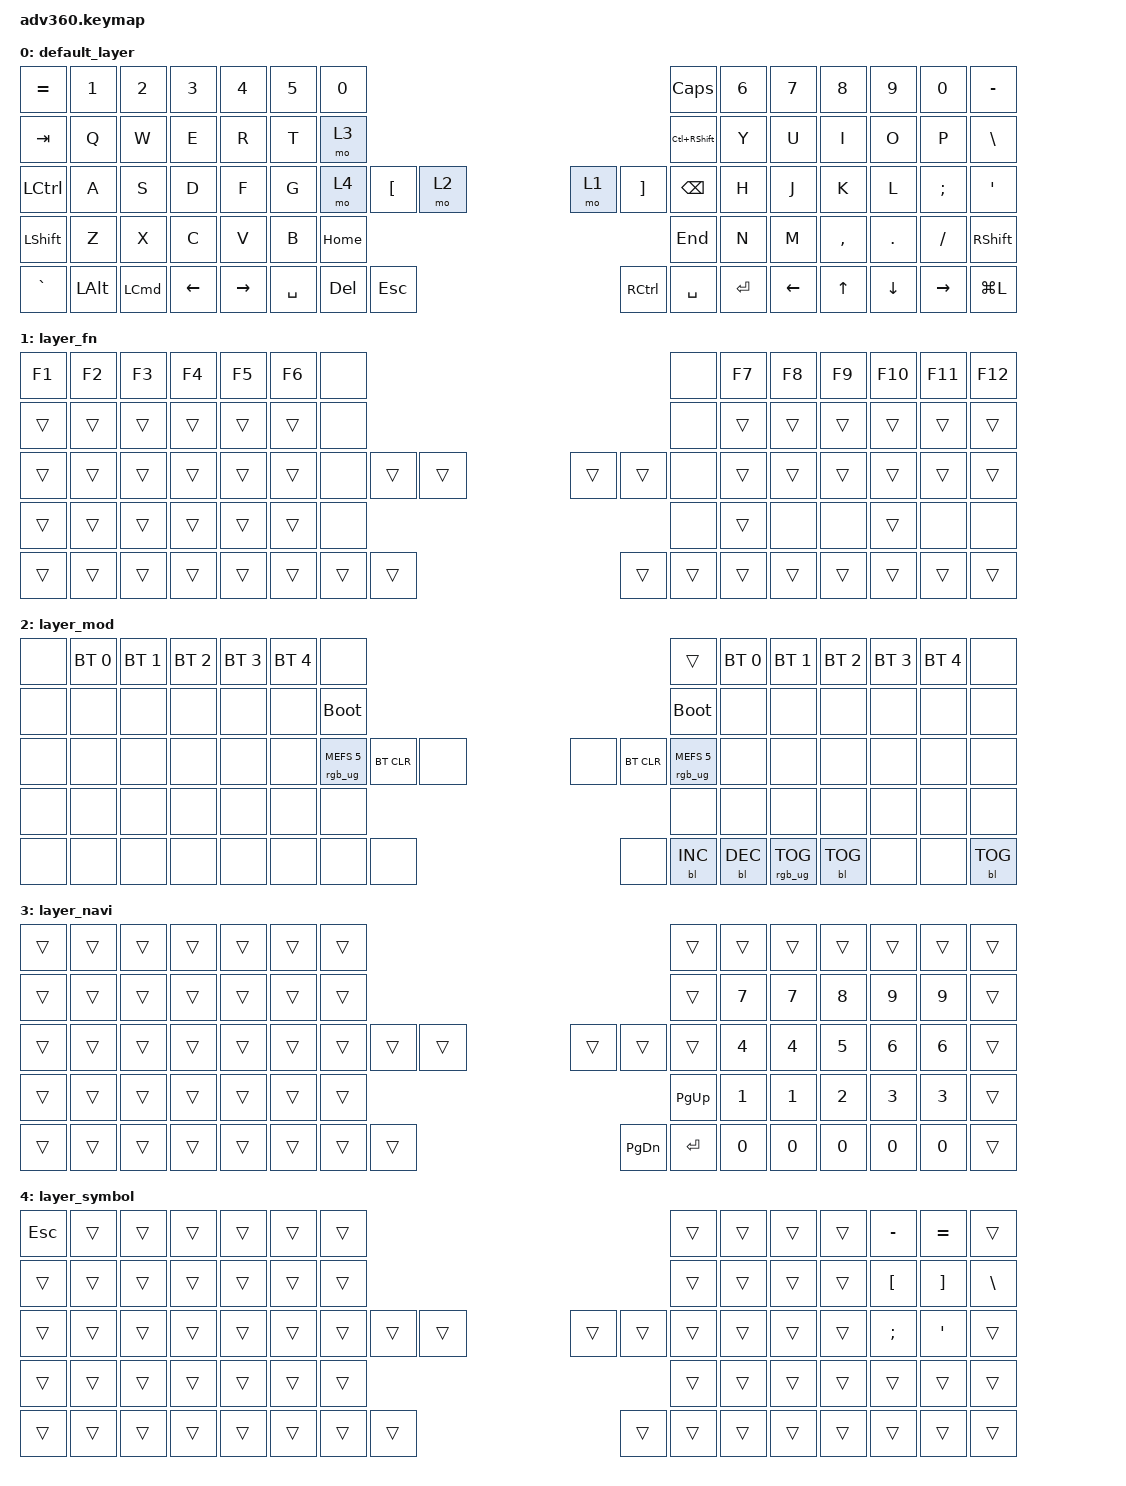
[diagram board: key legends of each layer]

/*
 * Copyright (c) 2020 The ZMK Contributors
 *
 * SPDX-License-Identifier: MIT
 */


/* THIS FILE WAS GENERATED!
 *
 * This file was generated automatically. You may or may not want to
 * edit it directly.
 */

#include <behaviors.dtsi>
#include <dt-bindings/zmk/keys.h>
#include <dt-bindings/zmk/bt.h>
#include <dt-bindings/zmk/rgb.h>
#include <dt-bindings/zmk/backlight.h>

/ {
  behaviors {
    #include "macros.dtsi"
    #include "version.dtsi"

    hm: homerow_mods {
        compatible = "zmk,behavior-hold-tap";
        label = "HOMEROW_MODS";
        #binding-cells = <2>;
        tapping-term-ms = <200>;
        quick_tap_ms = <175>;
        flavor = "tap-preferred";
        bindings = <&kp>, <&kp>;
    };
  };

    keymap {
        compatible = "zmk,keymap";


        default_layer {
            bindings = <
 &kp EQUAL  &kp NUMBER_1            &kp N2    &kp N3     &kp N4  &kp N5               &kp N0                                                                                             &kp CAPSLOCK  &kp N6    &kp N7     &kp N8    &kp N9     &kp N0  &kp MINUS
   &kp TAB         &kp Q             &kp W     &kp E      &kp R   &kp T                &mo 3                                                                                      &kp LC(RIGHT_SHIFT)   &kp Y     &kp U      &kp I     &kp O      &kp P   &kp BSLH
 &kp LCTRL         &kp A             &kp S     &kp D      &kp F   &kp G                &mo 4  &kp LEFT_BRACKET       &mo 2                              &mo 1  &kp RIGHT_BRACKET        &kp BACKSPACE   &kp H     &kp J      &kp K     &kp L   &kp SEMI    &kp SQT
 &kp LSHFT         &kp Z             &kp X     &kp C      &kp V   &kp B                                           &kp HOME                            &kp END                                           &kp N     &kp M  &kp COMMA   &kp DOT   &kp FSLH  &kp RSHFT
 &kp GRAVE  &kp LEFT_ALT  &kp LEFT_COMMAND  &kp LEFT  &kp RIGHT                    &kp SPACE        &kp DELETE  &kp ESCAPE                  &kp RIGHT_CONTROL          &kp SPACE            &kp ENTER          &kp LEFT     &kp UP  &kp DOWN  &kp RIGHT  &kp LG(L)
            >;
        };

        layer_fn {
            bindings = <
 &kp F1  &kp F2  &kp F3  &kp F4  &kp F5  &kp F6             &none                                                   &none  &kp F7  &kp F8  &kp F9  &kp F10  &kp F11  &kp F12
 &trans  &trans  &trans  &trans  &trans  &trans             &none                                                   &none  &trans  &trans  &trans   &trans   &trans   &trans
 &trans  &trans  &trans  &trans  &trans  &trans             &none  &trans  &trans                  &trans  &trans   &none  &trans  &trans  &trans   &trans   &trans   &trans
 &trans  &trans  &trans  &trans  &trans  &trans                             &none                   &none                  &trans   &none   &none   &trans    &none    &none
 &trans  &trans  &trans  &trans  &trans                    &trans  &trans  &trans                  &trans  &trans  &trans          &trans  &trans   &trans   &trans   &trans
            >;
        };

        layer_mod {
            bindings = <
  &none  &bt BT_SEL 0  &bt BT_SEL 1  &bt BT_SEL 2  &bt BT_SEL 3  &bt BT_SEL 4                             &none                                                                          &trans  &bt BT_SEL 0     &bt BT_SEL 1  &bt BT_SEL 2  &bt BT_SEL 3  &bt BT_SEL 4       &none
  &none         &none         &none         &none         &none         &none                       &bootloader                                                                     &bootloader         &none            &none         &none         &none         &none       &none
  &none         &none         &none         &none         &none         &none            &rgb_ug RGB_MEFS_CMD 5  &bt BT_CLR   &none                   &none  &bt BT_CLR  &rgb_ug RGB_MEFS_CMD 5         &none            &none         &none         &none         &none       &none
  &none         &none         &none         &none         &none         &none                                                 &none                   &none                                             &none            &none         &none         &none         &none       &none
  &none         &none         &none         &none         &none                                           &none       &none   &none                   &none  &bl BL_INC              &bl BL_DEC                &rgb_ug RGB_TOG    &bl BL_TOG         &none         &none  &bl BL_TOG
            >;
        };

        layer_navi {
            bindings = <
 &trans  &trans  &trans  &trans  &trans  &trans            &trans                                                                  &trans        &trans        &trans        &trans        &trans        &trans  &trans
 &trans  &trans  &trans  &trans  &trans  &trans            &trans                                                                  &trans  &kp NUMBER_7  &kp NUMBER_7  &kp NUMBER_8  &kp NUMBER_9  &kp NUMBER_9  &trans
 &trans  &trans  &trans  &trans  &trans  &trans            &trans  &trans  &trans                         &trans     &trans        &trans  &kp NUMBER_4  &kp NUMBER_4  &kp NUMBER_5  &kp NUMBER_6  &kp NUMBER_6  &trans
 &trans  &trans  &trans  &trans  &trans  &trans                            &trans                    &kp PAGE_UP                           &kp NUMBER_1  &kp NUMBER_1  &kp NUMBER_2  &kp NUMBER_3  &kp NUMBER_3  &trans
 &trans  &trans  &trans  &trans  &trans                    &trans  &trans  &trans                  &kp PAGE_DOWN  &kp ENTER  &kp NUMBER_0                &kp NUMBER_0  &kp NUMBER_0  &kp NUMBER_0  &kp NUMBER_0  &trans
            >;
        };

        layer_symbol {
            bindings = <
 &kp ESC  &trans  &trans  &trans  &trans  &trans            &trans                                                  &trans  &trans  &trans  &trans         &kp MINUS          &kp EQUAL         &trans
  &trans  &trans  &trans  &trans  &trans  &trans            &trans                                                  &trans  &trans  &trans  &trans  &kp LEFT_BRACKET  &kp RIGHT_BRACKET  &kp BACKSLASH
  &trans  &trans  &trans  &trans  &trans  &trans            &trans  &trans  &trans                  &trans  &trans  &trans  &trans  &trans  &trans     &kp SEMICOLON     &kp APOSTROPHE         &trans
  &trans  &trans  &trans  &trans  &trans  &trans                            &trans                  &trans                  &trans  &trans  &trans            &trans             &trans         &trans
  &trans  &trans  &trans  &trans  &trans                    &trans  &trans  &trans                  &trans  &trans  &trans          &trans  &trans            &trans             &trans         &trans
            >;
        };

    };
};
